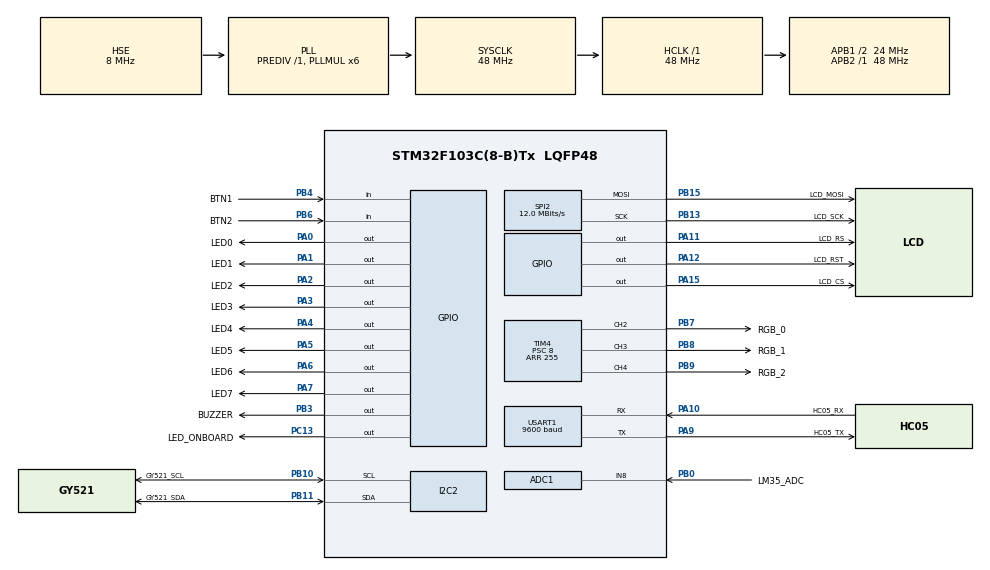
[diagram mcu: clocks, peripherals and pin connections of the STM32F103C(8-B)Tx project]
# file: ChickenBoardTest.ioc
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ADC1.Channel-0\#ChannelRegularConversion=ADC_CHANNEL_8
ADC1.ContinuousConvMode=DISABLE
ADC1.NbrOfConversion=1
ADC1.NbrOfConversionFlag=1
ADC1.Rank-0\#ChannelRegularConversion=1
ADC1.SamplingTime-0\#ChannelRegularConversion=ADC_SAMPLETIME_1CYCLE_5
ADC1.master=1
Mcu.Family=STM32F1
Mcu.Name=STM32F103C(8-B)Tx
Mcu.Package=LQFP48
NVIC.ADC1_2_IRQn=true\:4\:0\:true\:false\:true\:true\:true
NVIC.PriorityGroup=NVIC_PRIORITYGROUP_4
NVIC.TIM1_UP_IRQn=true\:4\:0\:true\:false\:true\:true\:true
NVIC.USART1_IRQn=true\:1\:0\:true\:false\:true\:true\:true
PA0-WKUP.GPIO_Label=LED0
PA0-WKUP.Signal=GPIO_Output
PA1.GPIO_Label=LED1
PA1.Signal=GPIO_Output
PA10.GPIO_Label=HC05_RX
PA10.Mode=Asynchronous
PA10.Signal=USART1_RX
PA11.GPIO_Label=LCD_RS
PA11.Signal=GPIO_Output
PA12.GPIO_Label=LCD_RST
PA12.Signal=GPIO_Output
PA13.Mode=Serial_Wire
PA13.Signal=SYS_JTMS-SWDIO
PA14.Mode=Serial_Wire
PA14.Signal=SYS_JTCK-SWCLK
PA15.GPIO_Label=LCD_CS
PA15.Signal=GPIO_Output
PA2.GPIO_Label=LED2
PA2.Signal=GPIO_Output
PA3.GPIO_Label=LED3
PA3.Signal=GPIO_Output
PA4.GPIO_Label=LED4
PA4.Signal=GPIO_Output
PA5.GPIO_Label=LED5
PA5.Signal=GPIO_Output
PA6.GPIO_Label=LED6
PA6.Signal=GPIO_Output
PA7.GPIO_Label=LED7
PA7.Signal=GPIO_Output
PA9.GPIO_Label=HC05_TX
PA9.Mode=Asynchronous
PA9.Signal=USART1_TX
PB0.GPIO_Label=LM35_ADC
PB0.Signal=ADCx_IN8
PB10.GPIO_Label=GY521_SCL
PB10.Mode=I2C
PB10.Signal=I2C2_SCL
PB11.GPIO_Label=GY521_SDA
PB11.Mode=I2C
PB11.Signal=I2C2_SDA
PB13.GPIO_Label=LCD_SCK
PB13.Mode=TX_Only_Simplex_Unidirect_Master
PB13.Signal=SPI2_SCK
PB15.GPIO_Label=LCD_MOSI
PB15.Mode=TX_Only_Simplex_Unidirect_Master
PB15.Signal=SPI2_MOSI
PB3.GPIO_Label=BUZZER
PB3.Signal=GPIO_Output
PB4.GPIO_Label=BTN1
PB4.Signal=GPIO_Input
PB6.GPIO_Label=BTN2
PB6.Signal=GPIO_Input
PB7.GPIO_Label=RGB_0
PB7.Signal=S_TIM4_CH2
PB8.GPIO_Label=RGB_1
PB8.Signal=S_TIM4_CH3
PB9.GPIO_Label=RGB_2
PB9.Signal=S_TIM4_CH4
PC13-TAMPER-RTC.GPIO_Label=LED_ONBOARD
PC13-TAMPER-RTC.Signal=GPIO_Output
PD0-OSC_IN.Mode=HSE-External-Oscillator
PD0-OSC_IN.Signal=RCC_OSC_IN
PD1-OSC_OUT.Mode=HSE-External-Oscillator
PD1-OSC_OUT.Signal=RCC_OSC_OUT
ProjectManager.HeapSize=0x200
ProjectManager.StackSize=0x400
ProjectManager.TargetToolchain=SW4STM32
RCC.ADCPresc=RCC_ADCPCLK2_DIV4
RCC.AHBFreq_Value=48000000
RCC.APB1CLKDivider=RCC_HCLK_DIV2
RCC.APB1Freq_Value=24000000
RCC.APB1TimFreq_Value=48000000
RCC.APB2Freq_Value=48000000
RCC.APB2TimFreq_Value=48000000
RCC.HCLKFreq_Value=48000000
RCC.PLLMUL=RCC_PLL_MUL6
RCC.PLLSourceVirtual=RCC_PLLSOURCE_HSE
RCC.SYSCLKFreq_VALUE=48000000
RCC.SYSCLKSource=RCC_SYSCLKSOURCE_PLLCLK
RCC.USBFreq_Value=48000000
SH.ADCx_IN8.0=ADC1_IN8,IN8
SH.S_TIM4_CH2.0=TIM4_CH2,PWM Generation2 CH2
SH.S_TIM4_CH3.0=TIM4_CH3,PWM Generation3 CH3
SH.S_TIM4_CH4.0=TIM4_CH4,PWM Generation4 CH4
SPI2.BaudRatePrescaler=SPI_BAUDRATEPRESCALER_2
SPI2.CalculateBaudRate=12.0 MBits/s
SPI2.Direction=SPI_DIRECTION_2LINES
SPI2.Mode=SPI_MODE_MASTER
SPI2.VirtualType=VM_MASTER
TIM1.AutoReloadPreload=TIM_AUTORELOAD_PRELOAD_DISABLE
TIM1.Period=1000-1
TIM1.Prescaler=48
TIM4.AutoReloadPreload=TIM_AUTORELOAD_PRELOAD_ENABLE
TIM4.Channel-PWM\ Generation2\ CH2=TIM_CHANNEL_2
TIM4.Channel-PWM\ Generation3\ CH3=TIM_CHANNEL_3
TIM4.Channel-PWM\ Generation4\ CH4=TIM_CHANNEL_4
TIM4.Period=255
TIM4.Prescaler=8
TIM4.Pulse-PWM\ Generation2\ CH2=500
TIM4.Pulse-PWM\ Generation3\ CH3=500
TIM4.Pulse-PWM\ Generation4\ CH4=500
USART1.BaudRate=9600
USART1.VirtualMode=VM_ASYNC
VP_TIM1_VS_ClockSourceINT.Mode=Internal
VP_TIM1_VS_ClockSourceITR.Mode=TriggerSource_ITR0
VP_TIM4_VS_ClockSourceINT.Mode=Internal
board=custom

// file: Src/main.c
/* USER CODE BEGIN Header */
/**
  ******************************************************************************
  * @file           : main.c
  * @brief          : Main program body
  ******************************************************************************
  * @attention
  *
  * <h2><center>&copy; Copyright (c) 2019 STMicroelectronics.
  * All rights reserved.</center></h2>
  *
  * This software component is licensed by ST under BSD 3-Clause license,
  * the "License"; You may not use this file except in compliance with the
  * License. You may obtain a copy of the License at:
  *                        opensource.org/licenses/BSD-3-Clause
  *
  ******************************************************************************
  */
/* USER CODE END Header */

#include "main.h"
#include "adc.h"
#include "i2c.h"
#include "spi.h"
#include "tim.h"
#include "usart.h"
#include "gpio.h"

/* USER CODE BEGIN Includes */
#include "App/LED/LED.h"
#include "App/Buzzer/Buzzer.h"
#include "App/RGB/RGB.h"
#include "App/LCD/LCD.h"
#include "App/HC05/HC05.h"
#include "App/GY521/GY521.h"
#include "App/LM35/LM35.h"
#include "App/Button/Button.h"
/* USER CODE END Includes */

void SystemClock_Config(void);

int main(void)
{

  /* MCU Configuration--------------------------------------------------------*/

  /* Reset of all peripherals, Initializes the Flash interface and the Systick. */
  HAL_Init();

  /* Configure the system clock */
  SystemClock_Config();

  /* Initialize all configured peripherals */
  MX_GPIO_Init();
  MX_SPI2_Init();
  MX_TIM4_Init();
  MX_USART1_UART_Init();
  MX_TIM1_Init();
  MX_ADC1_Init();
  MX_I2C2_Init();
  /* USER CODE BEGIN 2 */

  HAL_TIM_Base_Start_IT(&htim1);
  HAL_I2C_MspInit(&hi2c2);
  //while(HAL_I2C_IsDeviceReady(&hi2c2,0x68 << 1, 2, 100) != HAL_OK);

  LED_app();
  Buzzer_app();
  RGB_app();
  LCD_app();
  HC05_app();
  GY521_app();
  LM35_app();
  Button_app();
  /* USER CODE END 2 */

  /* Infinite loop */
  while (1)
  {

  }
}

void SystemClock_Config(void)
{
  RCC_OscInitTypeDef RCC_OscInitStruct = {0};
  RCC_ClkInitTypeDef RCC_ClkInitStruct = {0};
  RCC_PeriphCLKInitTypeDef PeriphClkInit = {0};

  /** Initializes the CPU, AHB and APB busses clocks
  */
  RCC_OscInitStruct.OscillatorType = RCC_OSCILLATORTYPE_HSE;
  RCC_OscInitStruct.HSEState = RCC_HSE_ON;
  RCC_OscInitStruct.HSEPredivValue = RCC_HSE_PREDIV_DIV1;
  RCC_OscInitStruct.HSIState = RCC_HSI_ON;
  RCC_OscInitStruct.PLL.PLLState = RCC_PLL_ON;
  RCC_OscInitStruct.PLL.PLLSource = RCC_PLLSOURCE_HSE;
  RCC_OscInitStruct.PLL.PLLMUL = RCC_PLL_MUL6;
  if (HAL_RCC_OscConfig(&RCC_OscInitStruct) != HAL_OK)
  {
    Error_Handler();
  }
  /** Initializes the CPU, AHB and APB busses clocks
  */
  RCC_ClkInitStruct.ClockType = RCC_CLOCKTYPE_HCLK|RCC_CLOCKTYPE_SYSCLK
                              |RCC_CLOCKTYPE_PCLK1|RCC_CLOCKTYPE_PCLK2;
  RCC_ClkInitStruct.SYSCLKSource = RCC_SYSCLKSOURCE_PLLCLK;
  RCC_ClkInitStruct.AHBCLKDivider = RCC_SYSCLK_DIV1;
  RCC_ClkInitStruct.APB1CLKDivider = RCC_HCLK_DIV2;
  RCC_ClkInitStruct.APB2CLKDivider = RCC_HCLK_DIV1;

  if (HAL_RCC_ClockConfig(&RCC_ClkInitStruct, FLASH_LATENCY_1) != HAL_OK)
  {
    Error_Handler();
  }
  PeriphClkInit.PeriphClockSelection = RCC_PERIPHCLK_ADC;
  PeriphClkInit.AdcClockSelection = RCC_ADCPCLK2_DIV4;
  if (HAL_RCCEx_PeriphCLKConfig(&PeriphClkInit) != HAL_OK)
  {
    Error_Handler();
  }
}

void Error_Handler(void)
{
}

/************************ (C) COPYRIGHT STMicroelectronics *****END OF FILE****/
